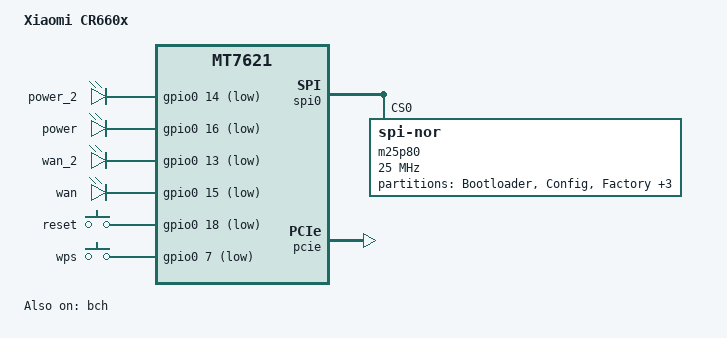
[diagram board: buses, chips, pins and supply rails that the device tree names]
/dts-v1/;

#include "mt7621-spi-32m-layout.dtsi"
#include <dt-bindings/input/input.h>
#include "mt7621-raeth-gmac2.dtsi"
#include "mt7621-pinctrl-default-gpio.dtsi"

/ {
	compatible = "mediatek,mt7621-soc";
	model = "Xiaomi CR660x";

	chosen {
		bootargs = "console=ttyS0,115200";
	};

	leds {
		compatible = "gpio-leds";

		sys_yellow {
			label = "power_2";
			gpios = <&gpio0 14 GPIO_ACTIVE_LOW>;
		};

		sys_blue {
			label = "power";
			gpios = <&gpio0 16 GPIO_ACTIVE_LOW>;
		};

		net_yellow {
			label = "wan_2";
			gpios = <&gpio0 13 GPIO_ACTIVE_LOW>;
		};

		net_blue {
			label = "wan";
			gpios = <&gpio0 15 GPIO_ACTIVE_LOW>;
		};
	};

	gpio-keys-polled {
		compatible = "gpio-keys-polled";
		#address-cells = <1>;
		#size-cells = <0>;
		poll-interval = <20>;

		reset {
			label = "reset";
			gpios = <&gpio0 18 GPIO_ACTIVE_LOW>;
			linux,code = <KEY_RESTART>;
		};

		wps {
			label = "wps";
			gpios = <&gpio0 7 GPIO_ACTIVE_LOW>;
			linux,code = <KEY_WPS_BUTTON>;
		};
	};
};

&bch {
	status = "okay";
};

&spi0 {
	status = "okay";

	m25p80@0 {
		#address-cells = <1>;
		#size-cells = <1>;
		compatible = "jedec,spi-nor";
		reg = <0>;
		spi-max-frequency = <25000000>;
		m25p,fast-read;

		partition@0 {
			label = "Bootloader";
			reg = <0x00000 0x30000>; /* 192K */
		};

		partition@30000 {
			label = "Config";
			reg = <0x30000 0x10000>; /* 64K */
		};

		partition@40000 {
			label = "Factory";
			reg = <0x40000 0x10000>; /* 64K */
		};

		partition@50000 {
			label = "firmware";
			reg = <0x50000 0x1f30000>;
		};

		partition@1f80000 {
			label = "Storage";
			reg = <0x1f80000 0x80000>; /* 512K */
		};

		partition@all {
			label = "ALL";
			reg = <0x0 0x2000000>;
		};
	};
};
&pcie {
	status = "okay";
};
